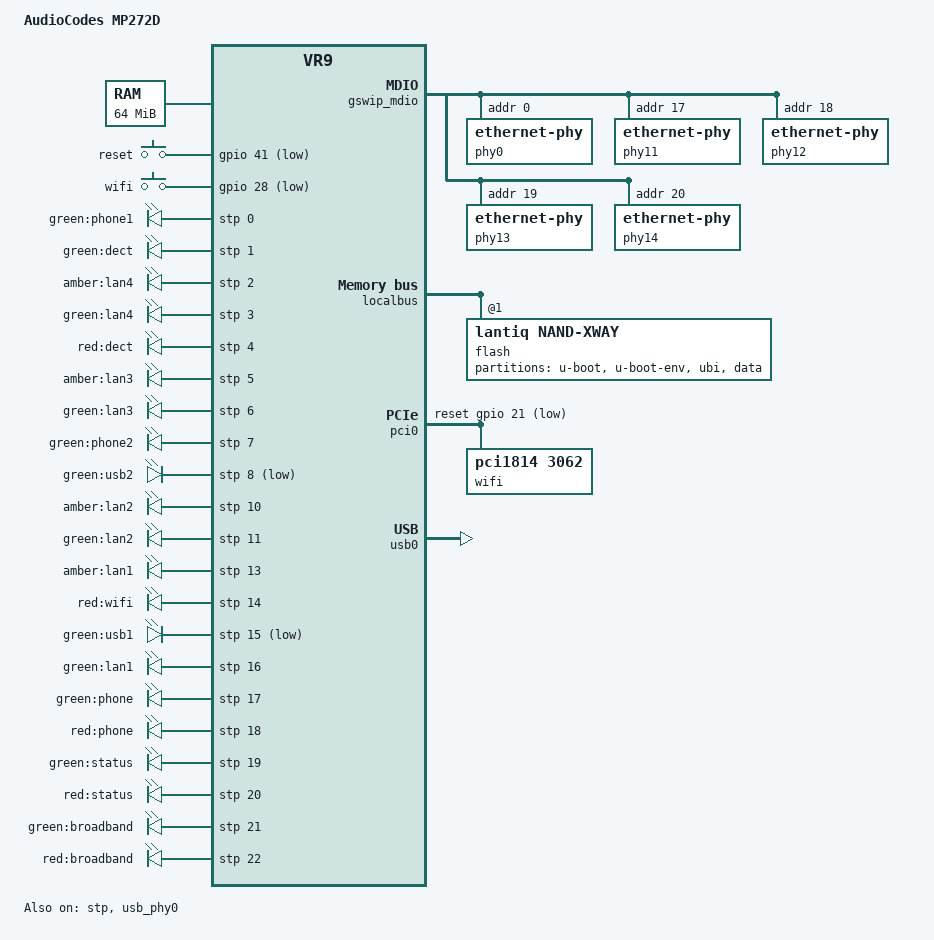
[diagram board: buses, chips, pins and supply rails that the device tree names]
#include "vr9.dtsi"

#include <dt-bindings/input/input.h>
#include <dt-bindings/leds/common.h>
#include <dt-bindings/mips/lantiq_rcu_gphy.h>

/ {
	compatible = "audiocodes,mp272d", "lantiq,xway", "lantiq,vr9";
	model = "AudioCodes MP272D";

	chosen {
		bootargs = "console=ttyLTQ0,115200";
	};

	aliases {
		led-boot = &status_green;
		led-failsafe = &status_red;
		led-running = &status_green;
		led-upgrade = &status_green;
	};

	memory@0 {
		device_type = "memory";
		reg = <0x0 0x4000000>;
	};

	keys {
		compatible = "gpio-keys-polled";
		poll-interval = <100>;

		reset {
			label = "reset";
			gpios = <&gpio 41 GPIO_ACTIVE_LOW>;
			linux,code = <KEY_RESTART>;
		};

		wifi {
			label = "wifi";
			gpios = <&gpio 28 GPIO_ACTIVE_LOW>;
			linux,code = <KEY_RFKILL>;
		};
	};
	
	leds {
		compatible = "gpio-leds";

		phone1_green {
			label = "green:phone1";
			gpios = <&stp 0 GPIO_ACTIVE_HIGH>;
		};

		dect_green {
			label = "green:dect";
			gpios = <&stp 1 GPIO_ACTIVE_HIGH>;
		};

		lan4_amber {
			label = "amber:lan4";
			gpios = <&stp 2 GPIO_ACTIVE_HIGH>;
		};

		lan4_green {
			label = "green:lan4";
			gpios = <&stp 3 GPIO_ACTIVE_HIGH>;
		};

		dect_red {
			label = "red:dect";
			gpios = <&stp 4 GPIO_ACTIVE_HIGH>;
		};

		lan3_amber {
			label = "amber:lan3";
			gpios = <&stp 5 GPIO_ACTIVE_HIGH>;
		};

		lan3_green {
			label = "green:lan3";
			gpios = <&stp 6 GPIO_ACTIVE_HIGH>;
		};
		
		phone2_green {
			label = "green:phone2";
			gpios = <&stp 7 GPIO_ACTIVE_HIGH>;
		};
		
		usb2_green {
			label = "green:usb2";
			gpios = <&stp 8 GPIO_ACTIVE_LOW>;
			trigger-sources = <&ehci_port2>;
			linux,default-trigger = "usbport";
		};

		lan2_amber {
			label = "amber:lan2";
			gpios = <&stp 10 GPIO_ACTIVE_HIGH>;
		};
		
		lan2_green {
			label = "green:lan2";
			gpios = <&stp 11 GPIO_ACTIVE_HIGH>;
		};

		lan1_amber {
			label = "amber:lan1";
			gpios = <&stp 13 GPIO_ACTIVE_HIGH>;
		};

		wifi_red {
			label = "red:wifi";
			gpios = <&stp 14 GPIO_ACTIVE_HIGH>;
		};

		usb1_green {
			label = "green:usb1";
			gpios = <&stp 15 GPIO_ACTIVE_LOW>;
			trigger-sources = <&ehci_port1>;
			linux,default-trigger = "usbport";
		};

		lan1_green {
			label = "green:lan1";
			gpios = <&stp 16 GPIO_ACTIVE_HIGH>;
		};

		phone_green {
			label = "green:phone";
			gpios = <&stp 17 GPIO_ACTIVE_HIGH>;
		};

		phone_red {
			label = "red:phone";
			gpios = <&stp 18 GPIO_ACTIVE_HIGH>;
		};

		status_green: status_green {
			label = "green:status";
			gpios = <&stp 19 GPIO_ACTIVE_HIGH>;
		};

		status_red: status_red {
			label = "red:status";
			gpios = <&stp 20 GPIO_ACTIVE_HIGH>;
		};

		broadband_green {
			label = "green:broadband";
			gpios = <&stp 21 GPIO_ACTIVE_HIGH>;
		};

		broadband_red {
			label = "red:broadband";
			gpios = <&stp 22 GPIO_ACTIVE_HIGH>;
		};
	};
};

&gphy0 {
	lantiq,gphy-mode = <GPHY_MODE_FE>;
};

&gphy1 {
	lantiq,gphy-mode = <GPHY_MODE_FE>;
};

&gswip {
	pinctrl-0 = <&mdio_pins>;
	pinctrl-names = "default";
};

&gswip_mdio {
	phy0: ethernet-phy@0 {
		reg = <0x0>;
	};
	phy11: ethernet-phy@11 {
		reg = <0x11>;
	};
	phy12: ethernet-phy@12 {
		reg = <0x12>;
	};
	phy13: ethernet-phy@13 {
		reg = <0x13>;
	};
	phy14: ethernet-phy@14 {
		reg = <0x14>;
	};
};

&gswip_ports {
	port@0 {
		reg = <0>;
		label = "wan";
		phy-mode = "rgmii-id";
		tx-internal-delay-ps = <1500>;
		rx-internal-delay-ps = <1500>;
		phy-handle = <&phy0>;
	};
	
	port@2 {
		reg = <2>;
		label = "lan3";
		phy-mode = "internal";
		phy-handle = <&phy11>;
	};

	port@3 {
		reg = <3>;
		label = "lan4";
		phy-mode = "internal";
		phy-handle = <&phy12>;
	};

	port@4 {
		reg = <4>;
		label = "lan1";
		phy-mode = "internal";
		phy-handle = <&phy13>;
	};

	port@5 {
		reg = <5>;
		label = "lan2";
		phy-mode = "internal";
		phy-handle = <&phy14>;
	};
};

&localbus {
	flash@1 {
		compatible = "lantiq,nand-xway";
		lantiq,cs = <1>;
		bank-width = <2>;
		reg = <0x1 0x0 0x2000000>;

		pinctrl-0 = <&nand_pins>, <&nand_cs1_pins>;
		pinctrl-names = "default";

		nand-on-flash-bbt;
		nand-ecc-strength = <3>;
		nand-ecc-step-size = <256>;
		nand-use-soft-ecc-engine;

		partitions {
			compatible = "fixed-partitions";
			#address-cells = <1>;
			#size-cells = <1>;

			partition@0 {
				label = "u-boot";
				reg = <0x0 0x40000>;
				read-only;
			};

			partition@e0000 {
				label = "u-boot-env";
				reg = <0xe0000 0x20000>;
			};

			partition@100000 {
				label = "ubi";
				reg = <0x100000 0x2300000>;
			};

			partition@2400000 {
				label = "data";
				reg = <0x2400000 0x1c00000>;
			};
		};
	};
};

&pci0 {
	status = "okay";
	reset-gpios = <&gpio 21 GPIO_ACTIVE_LOW>;

	pinctrl-0 = <&pci_gnt1_pins>, <&pci_req1_pins>;
	pinctrl-names = "default";

	wifi@1814,3062 {
		compatible = "pci1814,3062";
		reg = <0x7000 0 0 0 0>;
		ralink,eeprom = "RT3062.eeprom";
	};
};

&pcie0 {
	status = "disabled";
};

&stp {
	status = "okay";
};

&usb_phy0 {
	status = "okay";
};

&usb0 {
	status = "okay";
};
